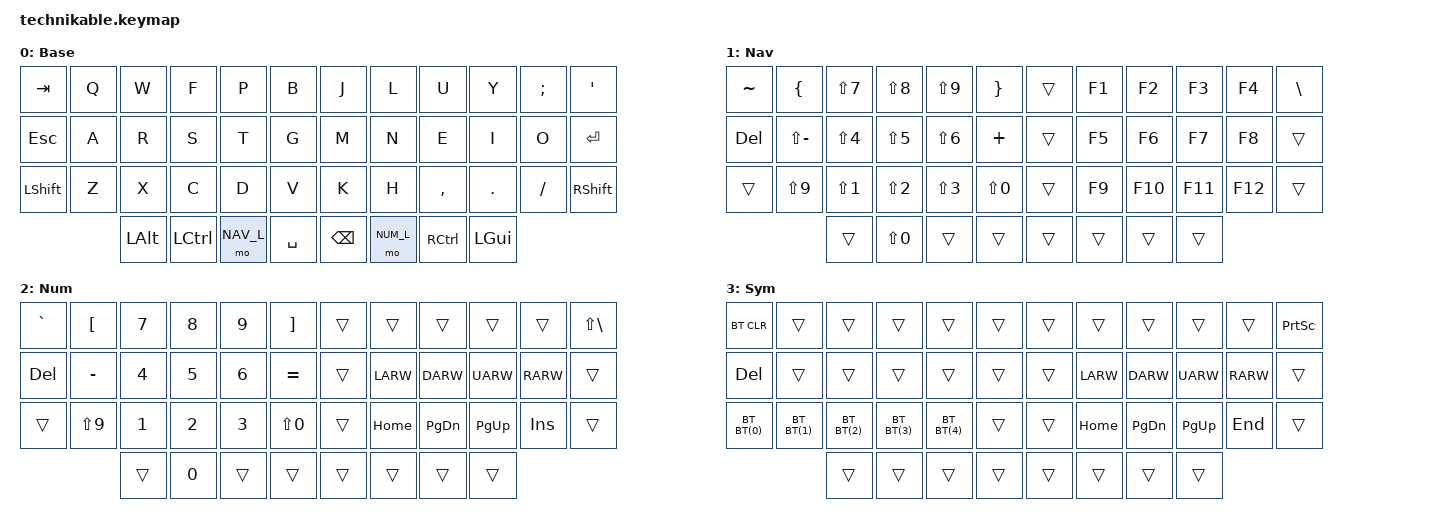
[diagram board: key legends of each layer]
/*
 * Copyright (c) 2022 Pete Johanson
 *
 * SPDX-License-Identifier: MIT
 */

#include <behaviors.dtsi>
#include <dt-bindings/zmk/keys.h>
#include <dt-bindings/zmk/bt.h>
#include <dt-bindings/zmk/outputs.h>

#define BAS_L 0
#define NAV_L 1
#define NUM_L 2
#define SYM_L 3

// Using layer taps on thumbs, having quick tap as well helps w/ repeating space/backspace
&lt { quick_tap_ms = <200>; };

#define BT(n) BT_SEL n

/ {
    chosen {
       zmk,matrix_transform =
			&ortho_transform;
    };

    conditional_layers {
        compatible = "zmk,conditional-layers";
	tri_layer {
	    if-layers = <NAV_L NUM_L>;
	    then-layer = <SYM_L>;
	};
    };

    keymap {
        compatible = "zmk,keymap";

        base_layer {
            label = "Base";
            bindings = <
 &kp TAB    &kp Q      &kp W      &kp F       &kp P          &kp B          &kp J            &kp L          &kp U       &kp Y      &kp SEMI     &kp QUOT
 &kp ESC    &kp A      &kp R      &kp S       &kp T          &kp G          &kp M            &kp N          &kp E       &kp I      &kp O        &kp RET
 &kp LSHFT  &kp Z      &kp X      &kp C       &kp D          &kp V          &kp K            &kp H          &kp COMMA   &kp DOT    &kp FSLH     &kp RSHFT
                       &kp LALT  &kp LCTRL    &mo NAV_L      &kp SPACE      &kp BKSP        &mo NUM_L      &kp RCTRL    &kp LGUI
            >;
        };

        nav_layer {
            label = "Nav";
            bindings = <
&kp TILDE     &kp LBRC   &kp LS(N7) &kp LS(N8)  &kp LS(N9)   &kp RBRC     &trans     &kp F1    &kp F2       &kp F3      &kp F4     &kp BSLH
&kp DEL     &kp LS(MINUS)  &kp LS(N4) &kp LS(N5)  &kp LS(N6)   &kp PLUS     &trans     &kp F5    &kp F6       &kp F7       &kp F8     &trans
&trans     &kp LS(N9)  &kp LS(N1) &kp LS(N2)  &kp LS(N3)   &kp LS(N0) &trans     &kp F9    &kp F10       &kp F11       &kp F12     &trans
                      &trans     &kp LS(N0)      &trans          &trans       &trans    &trans  &trans         &trans
            >;
        };

        num_layer {
            label = "Num";
            bindings = <
&kp GRAVE     &kp LBKT   &kp N7     &kp N8      &kp N9    &kp RBKT    &trans    &trans         &trans       &trans       &trans     &kp LS(BSLH)
&kp DEL     &kp MINUS   &kp N4     &kp N5      &kp N6    &kp EQUAL   &trans   &kp LARW    &kp DARW       &kp UARW       &kp RARW     &trans
&trans     &kp LS(N9)  &kp N1     &kp N2      &kp N3    &kp LS(N0)    &trans        &kp HOME         &kp PG_DN       &kp PG_UP       &kp INS     &trans
                     &trans     &kp N0      &trans    &trans         &trans     &trans       &trans      &trans
            >;
        };

        sym_layer {
            label = "Sym";
            bindings = <
&bt BT_CLR &trans     &trans     &trans      &trans          &trans       &trans     &trans         &trans      &trans     &trans     &kp PSCRN
&kp DEL    &trans     &trans     &trans      &trans          &trans       &trans     &kp LARW       &kp DARW    &kp UARW   &kp RARW   &trans
&bt BT(0)  &bt BT(1)  &bt BT(2) &bt BT(3)    &bt BT(4)       &trans       &trans     &kp HOME       &kp PG_DN   &kp PG_UP  &kp END    &trans
                      &trans     &trans      &trans          &trans       &trans    &trans  &trans         &trans
            >;
        };

    };
};
